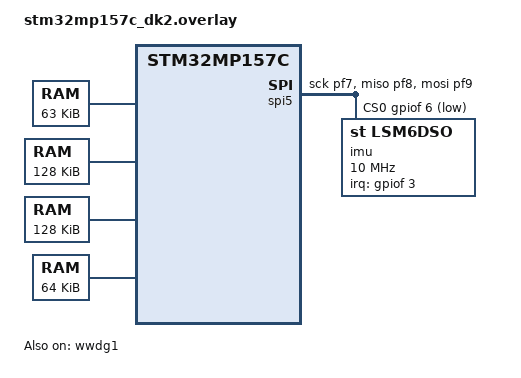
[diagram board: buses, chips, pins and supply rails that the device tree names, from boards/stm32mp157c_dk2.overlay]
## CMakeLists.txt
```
# SPDX-License-Identifier: Apache-2.0
# Derived from zephyr/samples/subsys/ipc/openamp_rsc_table.
cmake_minimum_required(VERSION 3.20.0)

# micro-ROS (west.yml). Its Zephyr module lives in a subdirectory, so west
# doesn't find it on its own. It builds libmicroros from the sources pinned
# in micro_ros.yml.
list(APPEND ZEPHYR_EXTRA_MODULES
    ${CMAKE_CURRENT_SOURCE_DIR}/../../modules/lib/micro_ros_zephyr_module/modules/libmicroros)
set(MICROROS_REPOS_DIR ${CMAKE_CURRENT_SOURCE_DIR}/../../modules/lib/micro_ros)

find_package(Zephyr REQUIRED HINTS $ENV{ZEPHYR_BASE})
project(dontfall_m4)

target_include_directories(app PRIVATE ${LIBMETAL_INCLUDE_DIR} ${OPENAMP_INCLUDE_DIR} ${PLATFORM_DIR})
target_sources(app PRIVATE
    src/main.c
    src/ipc.c
    src/link_led.c
    src/uros.c
    src/uros_transport.c
    src/imu.c
    src/imu_health.c
    src/tilt.c
    src/supervisor.c
    src/balance.c
    src/control.c
    src/diag.c
    src/wdog.c
)

# libmicroros's code and constants in RETRAM (overlay: retram node, linker
# region RETRAM), our own code stays in SRAM1. See retram.ld.
zephyr_linker_sources(PRE_TEXT_SECTIONS retram.ld)
```

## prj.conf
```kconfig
# printk goes to the RAM console, which the OpenAMP resource table exposes
# to Linux as remoteproc trace0:
#   cat /sys/kernel/debug/remoteproc/remoteproc0/trace0
CONFIG_PRINTK=y
CONFIG_RAM_CONSOLE=y
# 8 KB (default 1 KB, ~3 s of the IMU summary) so a bench test can be
# read back; RAM has room
CONFIG_RAM_CONSOLE_BUFFER_SIZE=8192
CONFIG_UART_CONSOLE=n
# no UART in use (overlay disables the board's USART3/UART7)
CONFIG_SERIAL=n
# the board defconfig sets this; without SERIAL it only warns
CONFIG_UART_INTERRUPT_DRIVEN=n

CONFIG_IPM=y
CONFIG_MAIN_STACK_SIZE=1024
CONFIG_HEAP_MEM_POOL_SIZE=1024
CONFIG_OPENAMP=y
CONFIG_OPENAMP_RSC_TABLE=y
CONFIG_OPENAMP_RSC_TABLE_NUM_RPMSG_BUFF=8
CONFIG_OPENAMP_MASTER=n

# LD7 (PH7) blinky
CONFIG_GPIO=y

# IMU on SPI5 (src/imu.c), Zephyr's LSM6DSO driver (needs hal_st)
CONFIG_SPI=y
CONFIG_SENSOR=y
# data-ready interrupt, handled in the driver's own (coop) thread
CONFIG_LSM6DSO_TRIGGER_OWN_THREAD=y

# Tilt filter (src/tilt.c) in float on the M4's single-precision FPU.
# Soft ABI: float arguments still go in integer registers, so objects
# built without the FPU (libmicroros) link unchanged. Sharing: any thread
# may use the FPU registers, the kernel saves them on context switch.
CONFIG_FPU=y
CONFIG_FP_SOFTABI=y
CONFIG_FPU_SHARING=y
# CONFIG_FPU turns float printf on by default (~10 KB of code); nothing
# prints floats (imu.c prints fixed point).
CONFIG_CBPRINTF_FP_SUPPORT=n

# micro-ROS (src/uros.c). Its allocations go through malloc, whose arena
# is all RAM left over after the static data. Entity limits are compiled
# into libmicroros; raise them as the node grows.
CONFIG_MICROROS=y
CONFIG_MICROROS_TRANSPORT_CUSTOM=y
CONFIG_MICROROS_NODES="1"
# ~/imu, /diagnostics, ~/joint_states
CONFIG_MICROROS_PUBLISHERS="3"
# cmd_vel
CONFIG_MICROROS_SUBSCRIBERS="1"
CONFIG_MICROROS_CLIENTS="0"
# ~/arm
CONFIG_MICROROS_SERVERS="1"
# clock_gettime() for rcutils and the XRCE-DDS client
CONFIG_POSIX_TIMERS=y
# rx byte pipe of the micro-ROS transport
CONFIG_PIPES=y
# libmicroros has static constructors (.init_array)
CONFIG_STATIC_INIT_GNU=y

# M4 watchdog (src/wdog.c): WWDG1, enabled in the overlay
CONFIG_WATCHDOG=y
```

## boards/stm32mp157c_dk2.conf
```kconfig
CONFIG_PLATFORM_SPECIFIC_INIT=n

# Code runs from MCU SRAM1 (zephyr,flash in the overlay); 64 KB of RETRAM
# is too small once micro-ROS is linked in. The M4 still fetches its reset
# vector from address 0 (RETRAM), so only the vector table goes there.
CONFIG_ROMSTART_RELOCATION_ROM=y
```

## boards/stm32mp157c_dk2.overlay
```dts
/*
 * Copyright (c) 2020, STMICROELECTRONICS
 *
 * SPDX-License-Identifier: Apache-2.0
 */

/*
 * M4 memory map, all in regions Linux reserves for the M4
 * (remoteproc carveouts):
 *
 *   0x00000000  RETRAM     1K  vector table (CONFIG_ROMSTART_RELOCATION_ROM)
 *   0x00000400  RETRAM    63K  more code, placed with zephyr_code_relocate()
 *   0x10000000  SRAM1    128K  code, rodata, resource table (zephyr,flash)
 *   0x10020000  SRAM2    128K  data, bss, stacks, heaps (zephyr,sram)
 *   0x10040000  SRAM3     64K  rpmsg vrings and buffers (zephyr,ipc_shm)
 *
 * Same split as ST's Cube M4 examples. Keeping code and data in separate
 * regions lets the MPU map code read-only and data execute-never, and
 * keeps the resource table out of RAM that the heap may claim.
 */

#include <zephyr/dt-bindings/sensor/lsm6dso.h>

/delete-node/ &mcusram;
/delete-node/ &retram;

/ {
	chosen {
		zephyr,flash = &mcusram1;
		zephyr,sram = &mcusram2;
		/*
		 * shared memory reserved for the inter-processor communication
		 */
		zephyr,ipc_shm = &mcusram3;
		zephyr,ipc = &mailbox;
	};

	/*
	 * RETRAM after the 1 KB vector table region, as a linker memory
	 * region named RETRAM (CMakeLists.txt relocates code into it).
	 * remoteproc loads it like any other ELF segment, so the code is
	 * linked in place (NOCOPY), nothing is copied at boot.
	 */
	retram: memory@400 {
		compatible = "zephyr,memory-region", "mmio-sram";
		reg = <0x00000400 DT_SIZE_K(63)>;
		zephyr,memory-region = "RETRAM";
	};

	mcusram1: memory@10000000 {
		compatible = "mmio-sram";
		reg = <0x10000000 DT_SIZE_K(128)>;
	};

	mcusram2: memory@10020000 {
		compatible = "mmio-sram";
		reg = <0x10020000 DT_SIZE_K(128)>;
	};

	mcusram3: memory@10040000 {
		compatible = "mmio-sram";
		reg = <0x10040000 DT_SIZE_K(64)>;
	};
};

/*
 * The board defaults enable these; nothing on the M4 uses a UART (the
 * console is the RAM console), so don't set them up or claim their pins
 * (USART3 PB10/PB12, UART7 PE7/PE8).
 */
&usart3 {
	status = "disabled";
};

&uart7 {
	status = "disabled";
};

/*
 * IMU: Arduino Modulino Movement (ST LSM6DSOX) on SPI5, GPIO expansion
 * header CN2 (docs/hardware.md in DontFall). CS on PF6 as a plain GPIO:
 * the chip stays in I2C mode until CS goes low, so it must be driven.
 * Linux leaves spi5 disabled, the M4 owns it.
 */
&spi5 {
	pinctrl-0 = <&spi5_sck_pf7 &spi5_miso_pf8 &spi5_mosi_pf9>;
	cs-gpios = <&gpiof 6 GPIO_ACTIVE_LOW>;

	imu: lsm6dsox@0 {
		compatible = "st,lsm6dso";
		reg = <0>;
		/* 64 MHz kernel clock / 8 = 8 MHz (chip max 10 MHz) */
		spi-max-frequency = <DT_FREQ_M(10)>;
		/* The driver writes these at boot; without them the chip stays
		 * powered down (ODR off).
		 */
		accel-odr = <LSM6DSO_DT_ODR_833Hz>;
		accel-range = <LSM6DSO_DT_FS_4G>;
		gyro-odr = <LSM6DSO_DT_ODR_833Hz>;
		gyro-range = <LSM6DSO_DT_FS_500DPS>;
		/* Data ready on INT1 (PF3, EXTI3). Pulsed, not latched: the
		 * driver masks the GPIO interrupt while it reads, and a latched
		 * line that goes high in that window never makes another edge.
		 * Pulsed only loses that one sample.
		 */
		irq-gpios = <&gpiof 3 GPIO_ACTIVE_HIGH>;
		int-pin = <1>;
		drdy-pulsed;
	};
};

/* M4 watchdog (src/wdog.c). Its reset is the EXTI 68 event Linux's
 * remoteproc reports as a crash.
 */
&wwdg1 {
	status = "okay";
};
```

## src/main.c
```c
/*
 * DontFall M4 firmware: OpenAMP remote on the STM32MP157 Cortex-M4.
 *
 * Wires the modules together:
 *  - ipc:       rpmsg-tty channel to Linux (/dev/ttyRPMSG0)
 *  - link_led:  LD7 blinks while the micro-ROS Agent session is up
 *  - uros:      micro-ROS node, to the micro-ROS Agent on the channel
 *  - imu:       LSM6DSOX on SPI5 (bring-up: data-ready sampling, timing printk)
 *  - control:   the supervisor (arm/disarm), fed by every IMU sample
 *  - wdog:      WWDG1 resets the M4 if it hangs
 *
 * SPDX-License-Identifier: Apache-2.0
 */

#include <zephyr/kernel.h>
#include <zephyr/sys/printk.h>

#include "control.h"
#include "imu.h"
#include "ipc.h"
#include "link_led.h"
#include "uros.h"
#include "uros_transport.h"
#include "wdog.h"

static const ipc_rx_cb_t rx_cbs[IPC_CH_COUNT] = {
	[IPC_CH_UROS] = uros_transport_rx,
};

int main(void)
{
	int ret;

	printk("dontfall-m4 up\n");

	ret = link_led_init();
	if (ret) {
		/* only the status LED is missing: run anyway */
		printk("LD7 not available: %d\n", ret);
	}

	ret = ipc_start(rx_cbs);
	if (ret) {
		printk("ipc_start failed: %d\n", ret);
	}

	/* before the IMU: it starts calling control_imu_sample() */
	control_init();

	/* after control_init(): its timer is a check-in source */
	ret = wdog_start();
	if (ret) {
		printk("wdog_start failed: %d\n", ret);
	}

	ret = imu_init(control_imu_sample);
	if (ret) {
		printk("imu_init failed: %d\n", ret);
	}

	ret = uros_start();
	if (ret) {
		printk("uros_start failed: %d\n", ret);
	}
	return 0;
}
```

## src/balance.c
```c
/*
 * Balance controller. See balance.h.
 *
 * SPDX-License-Identifier: Apache-2.0
 */

#include "balance.h"

#include <math.h>

#include "balance_gains.h"

void balance_init(struct balance *b, float t_max)
{
	b->k[0] = BALANCE_K_THETA;
	b->k[1] = BALANCE_K_THETA_DOT;
	b->k[2] = BALANCE_K_OMEGA;
	b->t_max = t_max;
}

float balance_update(const struct balance *b, float theta, float theta_dot, float omega,
		     bool armed)
{
	float t;

	if (!armed) {
		return 0.0f;
	}
	t = -(b->k[0] * theta + b->k[1] * theta_dot + b->k[2] * omega);
	/* NaN in, NaN out: never pass that to a motor */
	if (!isfinite(t)) {
		return 0.0f;
	}
	return fminf(fmaxf(t, -b->t_max), b->t_max);
}
```

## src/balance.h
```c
/*
 * Balance controller for the reaction wheel balancer (DontFall
 * docs/archive/balance-plan.md): full-state feedback
 *
 *     torque = -(k[0] theta + k[1] theta_dot + k[2] omega)
 *
 * with the LQR gains from balance_gains.h, clamped to the motor's limit.
 * theta is the body's tilt from upright, theta_dot its rate straight from
 * the gyro (bias removed, not from the tilt filter), omega the wheel's
 * speed relative to the body. Positive torque speeds the wheel up the
 * positive way and pushes the body the negative way.
 *
 * The supervisor decides whether the output is used; the controller also
 * gives zero when told it is disarmed, or on an input that isn't a number.
 *
 * Plain C with no Zephyr dependencies, so the same file is built into the
 * firmware and into the host tests (tests/balance).
 */
#ifndef DONTFALL_M4_BALANCE_H_
#define DONTFALL_M4_BALANCE_H_

#include <stdbool.h>

struct balance {
	float k[3];  /* N m per rad, per rad/s, per rad/s */
	float t_max; /* N m */
};

/* The LQR gains and a torque limit t_max (N m, > 0). */
void balance_init(struct balance *b, float t_max);

/* Torque for one sample, in -t_max..t_max N m. */
float balance_update(const struct balance *b, float theta, float theta_dot, float omega,
		     bool armed);

#endif /* DONTFALL_M4_BALANCE_H_ */
```

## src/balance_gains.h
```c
/*
 * Balance controller gains, torque = -(K_THETA theta + K_THETA_DOT
 * theta_dot + K_OMEGA omega), in N m per rad, per rad/s and per rad/s.
 *
 * GENERATED by tests/balance/lqr.py from the guessed parameters there;
 * change the script and rerun it, don't edit the numbers by hand.
 * Discrete LQR at 850 Hz, closed-loop poles |z| = 0.9895, 0.9895, 0.9973.
 *
 * SPDX-License-Identifier: Apache-2.0
 */

#ifndef BALANCE_GAINS_H
#define BALANCE_GAINS_H

#define BALANCE_K_THETA     -2.07481f
#define BALANCE_K_THETA_DOT -0.247924f
#define BALANCE_K_OMEGA     -0.00164696f

#endif
```

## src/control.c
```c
/*
 * Supervisor glue. See control.h.
 *
 * SPDX-License-Identifier: Apache-2.0
 */

#include "control.h"

#include <math.h>
#include <zephyr/kernel.h>
#include <zephyr/spinlock.h>
#include <zephyr/sys/printk.h>

#include "balance.h"
#include "imu_health.h"
#include "tilt.h"
#include "uptime_us.h"
#include "wdog.h"

/* how often to look for samples that stopped */
#define CONTROL_TICK_MS 10
/* the IMU's own no-data limit: ~12 samples at 850 Hz */
#define SAMPLE_TIMEOUT_US IMU_HEALTH_TIMEOUT_US
/* N m, a GUESS like the simulation's (plant_guess.t_max) until the
 * GM4108H's datasheet numbers are in
 */
#define TORQUE_MAX 0.2f
/* no encoder yet: the controller sees the wheel standing still */
#define WHEEL_SPEED 0.0f

static struct k_spinlock lock;
static struct supervisor sup;      /* guarded by lock */
static uint32_t last_sample_us;    /* guarded by lock */
static struct supervisor_input last_in; /* guarded by lock, imu_ok false until a sample */
static struct control_status shown; /* guarded by lock: last one printed */
static struct balance bal;          /* constant after init */
static float torque;                /* guarded by lock; the motor stub */
static uint32_t loop_max_cycles;    /* guarded by lock */

static struct k_timer tick;
static struct k_work print_work;

/* Lock held. Print from the work queue if the state or reason moved. */
static void note_change(void)
{
	if (sup.state != shown.state || sup.reason != shown.reason) {
		shown.state = sup.state;
		shown.reason = sup.reason;
		k_work_submit(&print_work);
	}
}

void control_imu_sample(uint32_t now_us, bool ok, float roll, float pitch, float pitch_rate)
{
	uint32_t start = k_cycle_get_32();
	struct supervisor_input in = {
		.now_us = now_us,
		.imu_ok = ok,
		.tilt = ok ? tilt_from_upright(roll, pitch) : NAN,
		.rate = ok ? pitch_rate : NAN,
	};

	K_SPINLOCK(&lock) {
		bool armed;

		/* saturated: the previous sample's output, one sample late */
		in.saturated = fabsf(torque) >= bal.t_max;
		last_sample_us = now_us;
		last_in = in;
		supervisor_update(&sup, &in);
		note_change();
		armed = ok && supervisor_armed(&sup);
		torque = balance_update(&bal, pitch, pitch_rate, WHEEL_SPEED, armed);
		loop_max_cycles = MAX(loop_max_cycles, k_cycle_get_32() - start);
	}
}

/* ISR context. */
static void on_tick(struct k_timer *timer)
{
	const struct supervisor_input in = {
		.now_us = uptime_us(),
		.imu_ok = false,
		.tilt = NAN,
	};

	ARG_UNUSED(timer);

	wdog_checkin(WDOG_CONTROL_TICK);
	K_SPINLOCK(&lock) {
		if (in.now_us - last_sample_us > SAMPLE_TIMEOUT_US) {
			supervisor_update(&sup, &in);
			note_change();
			torque = 0.0f;
		}
	}
}

/* Prints the state as it is now: two quick changes print once. */
static void print_state(struct k_work *work)
{
	struct control_status s;

	ARG_UNUSED(work);

	control_status(&s);
	if (s.state == SUPERVISOR_ARMED) {
		printk("control: ARMED (loop max %u ns)\n", s.loop_max_ns);
	} else {
		printk("control: DISARMED (%s, loop max %u ns)\n", supervisor_reason_str(s.reason),
		       s.loop_max_ns);
	}
}

void control_init(void)
{
	supervisor_init(&sup);
	balance_init(&bal, TORQUE_MAX);
	shown = (struct control_status){.state = sup.state, .reason = sup.reason};
	k_work_init(&print_work, print_state);
	k_timer_init(&tick, on_tick, NULL);
	k_timer_start(&tick, K_MSEC(CONTROL_TICK_MS), K_MSEC(CONTROL_TICK_MS));
}

enum supervisor_reason control_arm(void)
{
	enum supervisor_reason r;

	K_SPINLOCK(&lock) {
		struct supervisor_input in = last_in;

		in.now_us = uptime_us();
		/* the timer may not have run yet since the samples stopped */
		if (in.now_us - last_sample_us > SAMPLE_TIMEOUT_US) {
			in.imu_ok = false;
		}
		r = supervisor_arm(&sup, &in);
		note_change();
	}
	return r;
}

void control_disarm(void)
{
	K_SPINLOCK(&lock) {
		supervisor_disarm(&sup);
		note_change();
		torque = 0.0f;
	}
}

void control_command(float speed, float turn)
{
	const struct supervisor_setpoint cmd = {.speed = speed, .turn = turn};

	K_SPINLOCK(&lock) {
		supervisor_command(&sup, uptime_us(), &cmd);
	}
}

void control_status(struct control_status *out)
{
	K_SPINLOCK(&lock) {
		out->state = sup.state;
		out->reason = sup.reason;
		out->setpoint = supervisor_setpoint(&sup, uptime_us());
		out->torque = torque;
		out->loop_max_ns = (uint32_t)k_cyc_to_ns_floor64(loop_max_cycles);
	}
}
```

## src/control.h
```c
/*
 * Control: what runs on every IMU sample after the IMU's own work. Owns
 * the supervisor (supervisor.h) and the balance controller (balance.h,
 * DontFall docs/archive/balance-plan.md): on every sample the supervisor checks,
 * then the controller computes the wheel torque, zero unless armed.
 *
 * There is no motor yet (balance plan step 5): the torque is only stored
 * for telemetry, and the wheel speed the controller sees is 0 until
 * there is an encoder. theta is the IMU's pitch (the wheel axle is the
 * body's y axis, tilt.h), theta_dot the gyro's pitch rate.
 *
 * The supervisor is fed from three places, serialised by one lock:
 *  - every IMU sample (control_imu_sample, the IMU's sample callback),
 *  - a kernel timer every CONTROL_TICK_MS that disarms if the samples
 *    stopped: a lost data-ready interrupt never calls the callback, so
 *    the sampling path alone would never notice. It also checks in with
 *    the watchdog (wdog.h),
 *  - arm and disarm requests (control_arm, control_disarm), checked
 *    against the latest sample, so the caller gets the answer at once,
 *  - motion commands (control_command), stamped with the M4's clock when
 *    they arrive.
 *
 * State changes are printed from the system work queue, never in the
 * sampling path.
 */
#ifndef DONTFALL_M4_CONTROL_H_
#define DONTFALL_M4_CONTROL_H_

#include <stdbool.h>
#include <stdint.h>

#include "supervisor.h"

struct control_status {
	enum supervisor_state state;
	enum supervisor_reason reason;
	struct supervisor_setpoint setpoint; /* in use now: zero if stale */
	float torque;                        /* N m, wheel torque wanted now */
	uint32_t loop_max_ns;                /* longest supervisor + controller run */
};

/* Start the supervisor DISARMED and the no-sample timer. Call before the
 * IMU delivers samples.
 */
void control_init(void);

/* The IMU's sample callback (imu_sample_cb_t). */
void control_imu_sample(uint32_t now_us, bool ok, float roll, float pitch, float pitch_rate);

/* Arm if the latest sample allows it (supervisor_arm()): SUPERVISOR_OK,
 * or why not. Any thread.
 */
enum supervisor_reason control_arm(void);

/* Always works. Any thread. */
void control_disarm(void);

/* A motion command (cmd_vel) arrived: speed m/s, turn rad/s. Any thread. */
void control_command(float speed, float turn);

/* Snapshot for telemetry. Any thread. */
void control_status(struct control_status *out);

#endif /* DONTFALL_M4_CONTROL_H_ */
```

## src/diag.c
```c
/*
 * M4 status message. See diag.h.
 *
 * SPDX-License-Identifier: Apache-2.0
 */

#include "diag.h"

#include <string.h>
#include <zephyr/sys/printk.h>

#include "control.h"
#include "imu.h"
#include "ros_str.h"

enum { DIAG_IMU, DIAG_SUPERVISOR, DIAG_COUNT };

#define LEVEL_OK    diagnostic_msgs__msg__DiagnosticStatus__OK
#define LEVEL_WARN  diagnostic_msgs__msg__DiagnosticStatus__WARN
#define LEVEL_ERROR diagnostic_msgs__msg__DiagnosticStatus__ERROR

static diagnostic_msgs__msg__DiagnosticStatus status[DIAG_COUNT];
static char supervisor_message[32];
/* setpoint in use, under the supervisor status */
enum { VALUE_SPEED, VALUE_TURN, VALUE_COUNT };
static diagnostic_msgs__msg__KeyValue values[VALUE_COUNT];
static char value_buf[VALUE_COUNT][16];

/* printk has no float support: fixed point with 3 decimals, clamped so
 * the conversion can't overflow (the value is only for reading).
 */
static void set_milli(int i, float v)
{
	float c = v > 1e6f ? 1e6f : (v < -1e6f ? -1e6f : v);
	int32_t m = (int32_t)(c * 1000.0f + (c < 0 ? -0.5f : 0.5f));
	uint32_t a = m < 0 ? -(uint32_t)m : (uint32_t)m;

	snprintk(value_buf[i], sizeof(value_buf[i]), "%s%u.%03u", m < 0 ? "-" : "", a / 1000,
		 a % 1000);
	ros_str_set(&values[i].value, value_buf[i]);
}

void diag_init(diagnostic_msgs__msg__DiagnosticArray *msg)
{
	memset(msg, 0, sizeof(*msg));
	memset(status, 0, sizeof(status));
	ros_str_set(&msg->header.frame_id, "");
	msg->status.data = status;
	msg->status.size = DIAG_COUNT;
	msg->status.capacity = DIAG_COUNT;

	ros_str_set(&status[DIAG_IMU].name, "dontfall_m4: imu");
	ros_str_set(&status[DIAG_IMU].hardware_id, "lsm6dsox");
	ros_str_set(&status[DIAG_IMU].message, "");
	ros_str_set(&status[DIAG_SUPERVISOR].name, "dontfall_m4: supervisor");
	ros_str_set(&status[DIAG_SUPERVISOR].hardware_id, "");
	ros_str_set(&status[DIAG_SUPERVISOR].message, "");
	ros_str_set(&values[VALUE_SPEED].key, "speed");
	ros_str_set(&values[VALUE_TURN].key, "turn");
	set_milli(VALUE_SPEED, 0.0f);
	set_milli(VALUE_TURN, 0.0f);
	status[DIAG_SUPERVISOR].values.data = values;
	status[DIAG_SUPERVISOR].values.size = VALUE_COUNT;
	status[DIAG_SUPERVISOR].values.capacity = VALUE_COUNT;
}

void diag_fill(diagnostic_msgs__msg__DiagnosticArray *msg, int64_t stamp_ns)
{
	struct imu_sample unused;
	enum imu_fault fault = imu_latest(&unused);
	struct control_status c;

	control_status(&c);

	msg->header.stamp.sec = (int32_t)(stamp_ns / 1000000000);
	msg->header.stamp.nanosec = (uint32_t)(stamp_ns % 1000000000);

	status[DIAG_IMU].level = fault == IMU_OK ? LEVEL_OK : LEVEL_ERROR;
	ros_str_set(&status[DIAG_IMU].message, imu_fault_str(fault));

	if (c.state == SUPERVISOR_ARMED) {
		status[DIAG_SUPERVISOR].level = LEVEL_OK;
		ros_str_set(&status[DIAG_SUPERVISOR].message, "armed");
	} else {
		bool asked = c.reason == SUPERVISOR_BOOT || c.reason == SUPERVISOR_REQUEST;

		status[DIAG_SUPERVISOR].level = asked ? LEVEL_OK : LEVEL_WARN;
		snprintk(supervisor_message, sizeof(supervisor_message), "disarmed (%s)",
			 supervisor_reason_str(c.reason));
		ros_str_set(&status[DIAG_SUPERVISOR].message, supervisor_message);
	}
	set_milli(VALUE_SPEED, c.setpoint.speed);
	set_milli(VALUE_TURN, c.setpoint.turn);
}
```

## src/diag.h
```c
/*
 * The M4's status as diagnostic_msgs/DiagnosticArray, the standard ROS
 * type for health reports (rqt_robot_monitor, diagnostic_aggregator read
 * it). One status per part:
 *  - "dontfall_m4: imu": OK, or ERROR with the fault (imu_health.h)
 *  - "dontfall_m4: supervisor": "armed" or "disarmed (reason)"; WARN when
 *    a fault disarmed it, OK when it was asked to or never armed. Values
 *    "speed" (m/s) and "turn" (rad/s): the setpoint in use, zero while
 *    disarmed or when cmd_vel went quiet
 *
 * Builds the message only; uros.c publishes it.
 */
#ifndef DONTFALL_M4_DIAG_H_
#define DONTFALL_M4_DIAG_H_

#include <stdint.h>

#include <diagnostic_msgs/msg/diagnostic_array.h>

/* Point the message at static storage and set the fields that never
 * change. Once, before diag_fill().
 */
void diag_init(diagnostic_msgs__msg__DiagnosticArray *msg);

/* Fill in the current state, stamped stamp_ns (ns since the epoch). */
void diag_fill(diagnostic_msgs__msg__DiagnosticArray *msg, int64_t stamp_ns);

#endif /* DONTFALL_M4_DIAG_H_ */
```

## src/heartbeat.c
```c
/*
 * A7 liveness watchdog driving LD7 (PH7, Zephyr led0). See heartbeat.h.
 *
 * Two k_timers, both expiring in the system clock ISR:
 *  - watchdog: one-shot, re-armed by every kick; expiry = link lost.
 *  - blink:    periodic, runs only while the link is up.
 * The LED blinks at a fixed M4-timed rate, independent of A7 jitter.
 *
 * SPDX-License-Identifier: Apache-2.0
 */

#include "heartbeat.h"

#include <errno.h>
#include <stdbool.h>
#include <zephyr/kernel.h>
#include <zephyr/drivers/gpio.h>
#include <zephyr/sys/printk.h>

#define BLINK_PERIOD_MS 500

static const struct gpio_dt_spec led = GPIO_DT_SPEC_GET(DT_ALIAS(led0), gpios);
static bool led_ready;

/* guards link_up against the watchdog ISR */
static struct k_spinlock lock;
static bool link_up;

static void blink_expiry(struct k_timer *timer)
{
	gpio_pin_toggle_dt(&led);
}

static K_TIMER_DEFINE(blink_timer, blink_expiry, NULL);

static void watchdog_expiry(struct k_timer *timer)
{
	k_spinlock_key_t key = k_spin_lock(&lock);
	bool was_up = link_up;

	link_up = false;
	if (was_up && led_ready) {
		k_timer_stop(&blink_timer);
		gpio_pin_set_dt(&led, 0);
	}
	k_spin_unlock(&lock, key);

	if (was_up) {
		printk("heartbeat: A7 link lost\n");
	}
}

static K_TIMER_DEFINE(watchdog_timer, watchdog_expiry, NULL);

int heartbeat_init(void)
{
	if (!gpio_is_ready_dt(&led)) {
		return -ENODEV;
	}

	int ret = gpio_pin_configure_dt(&led, GPIO_OUTPUT_INACTIVE);

	if (ret) {
		return ret;
	}
	led_ready = true;
	return 0;
}

void heartbeat_kick(void)
{
	k_spinlock_key_t key = k_spin_lock(&lock);
	bool was_up = link_up;

	link_up = true;
	k_timer_start(&watchdog_timer, K_MSEC(HEARTBEAT_TIMEOUT_MS), K_NO_WAIT);
	if (!was_up && led_ready) {
		/* first toggle right away: LD7 lights as soon as the link is up */
		k_timer_start(&blink_timer, K_NO_WAIT, K_MSEC(BLINK_PERIOD_MS));
	}
	k_spin_unlock(&lock, key);

	if (!was_up) {
		printk("heartbeat: A7 link up\n");
	}
}
```

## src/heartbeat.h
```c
/*
 * A7 liveness watchdog.
 *
 * Every valid PING from the A7 kicks it. While kicks keep arriving the
 * orange LED LD7 blinks; if none arrives for HEARTBEAT_TIMEOUT_MS the link
 * counts as lost and LD7 goes off. A blinking LD7 therefore proves the
 * whole chain: remoteproc loaded and started the M4, rpmsg is up, and the
 * A7 application is alive and talking.
 *
 * The same pattern later guards motion commands: the M4 must not keep
 * acting on stale commands when the A7 goes quiet (VISION.md, fail safe).
 */
#ifndef DONTFALL_M4_HEARTBEAT_H_
#define DONTFALL_M4_HEARTBEAT_H_

/* A7 sends a PING every 500 ms; three missed in a row = link lost. */
#define HEARTBEAT_TIMEOUT_MS 1500

/* Configure LD7 (off). Returns 0, or a negative errno. */
int heartbeat_init(void);

/* A heartbeat arrived from the A7. Thread context. */
void heartbeat_kick(void);

#endif /* DONTFALL_M4_HEARTBEAT_H_ */
```

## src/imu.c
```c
/*
 * IMU on SPI5. See imu.h.
 *
 * The driver (drivers/sensor/st/lsm6dso, on ST's register HAL in hal_st)
 * probes the chip at boot, before main(): it checks WHO_AM_I, resets the
 * chip and writes the ODR, full scale and INT1 setup from the DT node.
 * Here we only use the generic sensor API, so the same code works with
 * any Zephyr IMU driver.
 *
 * On data ready the driver's own thread (CONFIG_LSM6DSO_TRIGGER_OWN_THREAD)
 * calls on_drdy(). It fetches the sample and updates the timing stats.
 * The summary thread swaps the stats out once a second and prints them,
 * so printk never runs in the sampling path.
 *
 * Gyro bias: a MEMS gyro reads a small nonzero rate at rest, and the tilt
 * filter integrates it into a drifting angle. At startup on_drdy()
 * averages CAL_SAMPLES of gyro and takes that as the bias, but only if
 * every axis stayed within CAL_MAX_RANGE (the module was still) and the
 * average is plausible (CAL_MAX_BIAS). Otherwise it starts over, forever:
 * running on an uncalibrated gyro is worse than waiting. Until then there
 * is no sample for imu_latest(), so nothing is published.
 *
 * Samples are kept as integer micro-units (um/s^2, urad/s), so the bias
 * subtraction at the sensor rate is integer maths.
 *
 * Tilt (step 6b): every calibrated sample also goes through the tilt
 * filter (tilt.c) in the same thread, with the measured time since the
 * previous sample: the chip's ODR is ~2% off nominal.
 *
 * Health (step 7b): every fetch also goes through the fault checks
 * (imu_health.c), and the summary thread re-reads WHO_AM_I once a second
 * with a raw SPI read (the SPI driver serialises it with the sensor
 * driver's transfers). While there is a fault, samples are not handed
 * out, the gyro calibration doesn't use them and the tilt filter starts
 * over, so it takes the accelerometer's angles once the IMU is healthy
 * again instead of integrating garbage.
 *
 * After the checks, every fetch goes to the sample callback from
 * imu_init() (the supervisor, failsafe plan step 2), healthy or not.
 *
 * Re-init (step 7c): a chip reset or power loss puts its registers back
 * to defaults, ODR "power down" among them: it still answers WHO_AM_I
 * but never makes data again. Right after boot imu_init() saves the
 * registers the driver set up (cfg_regs); the summary thread compares
 * them once a second and writes the saved values back if they changed.
 * Saving them from the chip instead of writing our own values keeps the
 * register encoding in the driver. Only with a good WHO_AM_I: with a
 * broken bus the reads mean nothing.
 *
 * SPDX-License-Identifier: Apache-2.0
 */

#include "imu.h"
#include "imu_health.h"
#include "tilt.h"
#include "uptime_us.h"

#include <errno.h>
#include <stdint.h>
#include <string.h>
#include <zephyr/device.h>
#include <zephyr/drivers/sensor.h>
#include <zephyr/drivers/spi.h>
#include <zephyr/kernel.h>
#include <zephyr/spinlock.h>
#include <zephyr/sys/printk.h>
#include <zephyr/sys/util.h>

#define IMU_STACK_SIZE 1024
/* below uros (5): printing is the least important thing on the M4 */
#define IMU_PRIORITY   K_PRIO_PREEMPT(7)
#define IMU_REPORT_MS  1000

/* ~1 s at the ~850 Hz ODR */
#define CAL_SAMPLES    850
/* Skip ~100 ms first: right after the driver turns the gyro on it reads
 * rad/s-sized garbage for a few tens of ms (turn-on time).
 */
#define CAL_SETTLE     85
/* Max - min per gyro axis over the window. Measured at rest: ~0.01 rad/s
 * when quiet, up to ~0.1 with the desk vibrating (that averages out).
 * Picking the module up or turning it by hand is well above.
 */
#define CAL_MAX_RANGE  100000 /* urad/s, ~5.7 dps */
/* LSM6DSOX zero-rate level is +-1 dps typical; far above that, something
 * is turning the module slowly and steadily.
 */
#define CAL_MAX_BIAS   100000 /* urad/s, ~5.7 dps */

/* Tilt filter time constant: a common start for balancing robots, tune
 * on the robot (docs/archive/imu-plan.md step 6).
 */
#define TILT_TAU       0.5f /* s */
#define RAD_TO_UDEG    (180e6f / 3.14159265f)

/* Largest readings, 32767 LSB times the sensitivity of the DT ranges:
 * 0.122 mg at 4 g, 17.5 mdps at 500 dps (so it really reaches 573 dps).
 */
#define ACCEL_FS       39202800 /* um/s^2 */
#define GYRO_FS        10008000 /* urad/s */

#define REG_WHO_AM_I   0x0f
#define WHO_AM_I_LSM6DSOX 0x6c
#define SPI_READ       0x80
#define REG_FUNC_CFG_ACCESS 0x01

K_THREAD_STACK_DEFINE(imu_stack, IMU_STACK_SIZE);
static struct k_thread imu_thread;

static const struct device *const imu = DEVICE_DT_GET(DT_NODELABEL(imu));
/* same bus settings as the driver's (mode 3) */
static const struct spi_dt_spec spi = SPI_DT_SPEC_GET(
	DT_NODELABEL(imu),
	SPI_OP_MODE_MASTER | SPI_WORD_SET(8) | SPI_TRANSFER_MSB | SPI_MODE_CPOL | SPI_MODE_CPHA,
	0);

/* Timing of the samples in one report window, in hw cycles
 * (k_cycle_get_32, the CPU clock on the M4).
 */
struct imu_stats {
	uint32_t samples;
	uint32_t errors;   /* failed fetches */
	uint32_t gaps;     /* gaps measured (samples, minus the window's first) */
	uint32_t gap_min;
	uint32_t gap_max;
	uint32_t gap_sum;
	uint32_t fetch_max; /* longest sensor_sample_fetch: SPI cost per sample */
	uint32_t faults;    /* samples that started a fault */
	enum imu_fault last_fault;
};

/* Result of the gyro calibration, for the summary thread to print. */
struct imu_cal {
	bool done;
	uint32_t attempts;    /* windows finished, good or not */
	int32_t bias[3];      /* urad/s, valid once done */
	int32_t range[3];     /* urad/s, max - min in the last window */
};

static struct k_spinlock lock;
static struct imu_stats stats; /* guarded by lock */
static struct imu_cal cal;     /* guarded by lock */
static struct imu_health health; /* guarded by lock */
static int32_t accel[3]; /* um/s^2, latest sample, guarded by lock */
static int32_t gyro[3];  /* urad/s, latest sample minus bias, guarded by lock */
static float roll, pitch; /* rad, latest tilt estimate, guarded by lock */
static bool have_sample; /* guarded by lock */

/* Registers the driver sets at boot, in the order they are written back:
 * CTRL3_C (BDU, auto-increment) first, the ODRs (CTRL1_XL, CTRL2_G) last
 * so the chip starts sampling only when fully set up. FIFO_CTRL4 (FIFO
 * bypass), COUNTER_BDR_REG1 (pulsed data ready), INT1_CTRL (data ready
 * on INT1), CTRL4_C..CTRL10_C (power modes, I3C off), I3C_BUS_AVB.
 */
static const uint8_t cfg_regs[] = {
	0x12, 0x0a, 0x0b, 0x0d, 0x13, 0x14, 0x15, 0x16, 0x17, 0x18, 0x19, 0x62, 0x10, 0x11,
};
static uint8_t cfg_saved[ARRAY_SIZE(cfg_regs)]; /* summary thread only, after init */

static imu_sample_cb_t sample_cb; /* set once by imu_init() */

/* only touched by on_drdy */
static uint32_t last_cycle;
static enum imu_fault last_fault = IMU_FAULT_NO_DATA;
static bool have_last;
static int32_t bias[3];
static bool calibrated;
static uint32_t settle_n;
static uint32_t cal_n;
static int64_t cal_sum[3];
static int32_t cal_min[3], cal_max[3];
static struct tilt tilt;

static void stats_reset(struct imu_stats *s)
{
	*s = (struct imu_stats){.gap_min = UINT32_MAX};
}

static int read_reg(uint8_t reg, uint8_t *val)
{
	uint8_t tx[2] = {reg | SPI_READ, 0};
	uint8_t rx[2];
	const struct spi_buf tx_buf = {.buf = tx, .len = sizeof(tx)};
	const struct spi_buf rx_buf = {.buf = rx, .len = sizeof(rx)};
	const struct spi_buf_set tx_set = {.buffers = &tx_buf, .count = 1};
	const struct spi_buf_set rx_set = {.buffers = &rx_buf, .count = 1};
	int ret = spi_transceive_dt(&spi, &tx_set, &rx_set);

	*val = rx[1];
	return ret;
}

static int write_reg(uint8_t reg, uint8_t val)
{
	uint8_t tx[2] = {reg, val};
	const struct spi_buf tx_buf = {.buf = tx, .len = sizeof(tx)};
	const struct spi_buf_set tx_set = {.buffers = &tx_buf, .count = 1};

	return spi_write_dt(&spi, &tx_set);
}

static int cfg_save(void)
{
	for (int i = 0; i < ARRAY_SIZE(cfg_regs); i++) {
		int ret = read_reg(cfg_regs[i], &cfg_saved[i]);

		if (ret) {
			return ret;
		}
	}
	return 0;
}

/* If the chip lost its setup, write it back. */
static void cfg_restore_if_lost(void)
{
	int lost = -1;
	uint8_t v = 0;

	for (int i = 0; i < ARRAY_SIZE(cfg_regs) && lost < 0; i++) {
		if (read_reg(cfg_regs[i], &v) == 0 && v != cfg_saved[i]) {
			lost = i;
		}
	}
	if (lost < 0) {
		return;
	}
	printk("imu: chip setup lost (reg 0x%02x 0x%02x, was 0x%02x), writing it again\n",
	       cfg_regs[lost], v, cfg_saved[lost]);
	/* user register bank, the default after a reset anyway */
	write_reg(REG_FUNC_CFG_ACCESS, 0);
	for (int i = 0; i < ARRAY_SIZE(cfg_regs); i++) {
		write_reg(cfg_regs[i], cfg_saved[i]);
	}
}

/* Feed one gyro sample into the calibration window. When the window is
 * full, take its average as the bias if the module was still, else start
 * a new window. Sampling thread only.
 */
static void cal_add(const int32_t g[3])
{
	struct imu_cal result = {0};
	bool still = true;

	if (settle_n < CAL_SETTLE) {
		settle_n++;
		return;
	}
	for (int i = 0; i < 3; i++) {
		cal_sum[i] += g[i];
		cal_min[i] = cal_n ? MIN(cal_min[i], g[i]) : g[i];
		cal_max[i] = cal_n ? MAX(cal_max[i], g[i]) : g[i];
	}
	if (++cal_n < CAL_SAMPLES) {
		return;
	}

	for (int i = 0; i < 3; i++) {
		result.bias[i] = (int32_t)(cal_sum[i] / CAL_SAMPLES);
		result.range[i] = cal_max[i] - cal_min[i];
		if (result.range[i] > CAL_MAX_RANGE ||
		    result.bias[i] > CAL_MAX_BIAS || result.bias[i] < -CAL_MAX_BIAS) {
			still = false;
		}
	}
	cal_n = 0;
	memset(cal_sum, 0, sizeof(cal_sum));

	if (still) {
		memcpy(bias, result.bias, sizeof(bias));
		calibrated = true;
	}
	K_SPINLOCK(&lock) {
		result.done = still;
		result.attempts = cal.attempts + 1;
		cal = result;
	}
}

static void on_drdy(const struct device *dev, const struct sensor_trigger *trig)
{
	struct sensor_value av[3], gv[3];
	int32_t a[3] = {0}, g[3] = {0};
	uint32_t now = k_cycle_get_32();
	uint32_t t = uptime_us();
	uint32_t fetch;
	enum imu_fault fault;
	bool use;
	int ret;

	ARG_UNUSED(trig);

	/* one fetch reads both sensors; channel_get only converts */
	ret = sensor_sample_fetch(dev);
	fetch = k_cycle_get_32() - now;
	if (ret == 0) {
		sensor_channel_get(dev, SENSOR_CHAN_ACCEL_XYZ, av);
		sensor_channel_get(dev, SENSOR_CHAN_GYRO_XYZ, gv);
		for (int i = 0; i < 3; i++) {
			a[i] = (int32_t)sensor_value_to_micro(&av[i]);
			g[i] = (int32_t)sensor_value_to_micro(&gv[i]);
		}
	}

	K_SPINLOCK(&lock) {
		imu_health_sample(&health, t, ret == 0, a, g);
		fault = imu_health_check(&health, t);
		stats.samples++;
		stats.fetch_max = MAX(stats.fetch_max, fetch);
		if (have_last) {
			uint32_t gap = now - last_cycle; /* wraps correctly */

			stats.gaps++;
			stats.gap_sum += gap;
			stats.gap_min = MIN(stats.gap_min, gap);
			stats.gap_max = MAX(stats.gap_max, gap);
		}
		if (ret) {
			stats.errors++;
		}
		if (fault != IMU_OK && fault != last_fault) {
			stats.faults++;
			stats.last_fault = fault;
		}
	}
	last_fault = fault;

	use = fault == IMU_OK && calibrated;
	if (fault != IMU_OK) {
		/* the next healthy sample takes the accelerometer's angles */
		tilt_init(&tilt, TILT_TAU);
	} else if (calibrated) {
		float af[3], gf[3];

		for (int i = 0; i < 3; i++) {
			g[i] -= bias[i];
			af[i] = a[i] * 1e-6f;
			gf[i] = g[i] * 1e-6f;
		}
		/* the first update ignores dt, so no special case for it */
		tilt_update(&tilt, af, gf,
			    (float)(now - last_cycle) / sys_clock_hw_cycles_per_sec());
	} else {
		cal_add(g);
	}

	if (sample_cb) {
		sample_cb(t, use, tilt.roll, tilt.pitch, tilt.pitch_rate);
	}

	if (use) {
		K_SPINLOCK(&lock) {
			memcpy(accel, a, sizeof(a));
			memcpy(gyro, g, sizeof(g));
			roll = tilt.roll;
			pitch = tilt.pitch;
			have_sample = true;
		}
	}
	last_cycle = now;
	have_last = true;
}

/* data ready of the accelerometer; gyro runs at the same ODR in sync */
static const struct sensor_trigger drdy = {
	.type = SENSOR_TRIG_DATA_READY,
	.chan = SENSOR_CHAN_ACCEL_XYZ,
};

/* printk has no float support (CONFIG_CBPRINTF_FP_SUPPORT costs code
 * size), so print micro-units as fixed point with 4 decimals.
 */
static void print_micro(const char *name, int32_t u)
{
	const char *sign = u < 0 ? "-" : " ";
	/* in units of 1e-4, rounded toward zero */
	uint32_t m = (u < 0 ? -(uint32_t)u : (uint32_t)u) / 100;

	printk(" %s %s%u.%04u", name, sign, m / 10000, m % 10000);
}

static void print_xyz(const char *label, const int32_t v[3])
{
	printk("%s", label);
	print_micro("x", v[0]);
	print_micro("y", v[1]);
	print_micro("z", v[2]);
}

/* Print what the calibration did since the last report. */
static void print_cal(const struct imu_cal *c, uint32_t *printed)
{
	if (c->attempts == *printed) {
		return;
	}
	*printed = c->attempts;
	if (c->done) {
		print_xyz("imu: gyro bias [rad/s]", c->bias);
		printk(" (try %u)\n", c->attempts);
	} else {
		print_xyz("imu: moving, gyro calibration retrying; range [rad/s]", c->range);
		printk("\n");
	}
}

static void imu_task(void *p1, void *p2, void *p3)
{
	struct imu_stats s;
	struct imu_cal c;
	uint32_t cal_printed = 0;
	enum imu_fault fault, printed = IMU_OK;
	int32_t a[3], g[3];
	float r, p;
	uint8_t id;
	bool ok, id_ok;
	int ret;

	ARG_UNUSED(p1);
	ARG_UNUSED(p2);
	ARG_UNUSED(p3);

	for (;;) {
		k_msleep(IMU_REPORT_MS);

		ret = read_reg(REG_WHO_AM_I, &id);
		id_ok = ret == 0 && id == WHO_AM_I_LSM6DSOX;
		if (id_ok) {
			cfg_restore_if_lost();
		}

		K_SPINLOCK(&lock) {
			imu_health_who_am_i(&health, id_ok);
			/* also sees samples that stopped coming */
			fault = imu_health_check(&health, uptime_us());
			s = stats;
			stats_reset(&stats);
			c = cal;
			ok = have_sample;
			memcpy(a, accel, sizeof(a));
			memcpy(g, gyro, sizeof(g));
			r = roll;
			p = pitch;
		}

		print_cal(&c, &cal_printed);

		/* samples counted over ~IMU_REPORT_MS, so samples/s */
		printk("imu: %u Hz, gap us min %u avg %u max %u, fetch us max %u, errors %u\n",
		       s.samples,
		       s.gaps ? k_cyc_to_us_floor32(s.gap_min) : 0,
		       s.gaps ? k_cyc_to_us_floor32(s.gap_sum / s.gaps) : 0,
		       k_cyc_to_us_floor32(s.gap_max),
		       k_cyc_to_us_floor32(s.fetch_max),
		       s.errors);
		if (!id_ok) {
			printk("imu: WHO_AM_I 0x%02x, spi %d\n", id, ret);
		}
		if (s.faults) {
			printk("imu: %u faults, last %s\n", s.faults, imu_fault_str(s.last_fault));
		}
		if (fault != IMU_OK) {
			printk("imu: FAULT %s\n", imu_fault_str(fault));
		} else if (printed != IMU_OK) {
			printk("imu: healthy (was %s)\n", imu_fault_str(printed));
		}
		printed = fault;
		if (ok && fault == IMU_OK) {
			print_xyz("imu: a[m/s2]", a);
			print_xyz("  g[rad/s]", g);
			printk("\nimu: tilt [deg]");
			print_micro("roll", (int32_t)(r * RAD_TO_UDEG));
			print_micro("pitch", (int32_t)(p * RAD_TO_UDEG));
			printk("\n");
		}
	}
}

enum imu_fault imu_latest(struct imu_sample *out)
{
	int32_t a[3], g[3];
	float r, p, q[4];
	enum imu_fault fault;
	bool ok;

	K_SPINLOCK(&lock) {
		fault = imu_health_check(&health, uptime_us());
		ok = have_sample;
		memcpy(a, accel, sizeof(a));
		memcpy(g, gyro, sizeof(g));
		r = roll;
		p = pitch;
	}
	if (fault != IMU_OK) {
		return fault;
	}
	if (!ok) {
		/* healthy, but the gyro calibration isn't done yet */
		return IMU_FAULT_NO_DATA;
	}
	/* convert outside the lock: the sampling thread waits on it */
	for (int i = 0; i < 3; i++) {
		out->accel[i] = a[i] * 1e-6;
		out->gyro[i] = g[i] * 1e-6;
	}
	tilt_quaternion(r, p, q);
	for (int i = 0; i < 4; i++) {
		out->orientation[i] = q[i];
	}
	return IMU_OK;
}

int imu_init(imu_sample_cb_t cb)
{
	int ret;

	sample_cb = cb;
	if (!device_is_ready(imu)) {
		printk("imu: %s not ready\n", imu->name);
		return -ENODEV;
	}

	stats_reset(&stats);
	imu_health_init(&health, ACCEL_FS, GYRO_FS);
	tilt_init(&tilt, TILT_TAU);
	ret = sensor_trigger_set(imu, &drdy, on_drdy);
	if (ret) {
		printk("imu: data-ready trigger failed: %d\n", ret);
		return ret;
	}
	/* after the trigger: it routes data ready to INT1 */
	ret = cfg_save();
	if (ret) {
		printk("imu: reading the chip setup failed: %d\n", ret);
		return ret;
	}

	k_thread_create(&imu_thread, imu_stack, K_THREAD_STACK_SIZEOF(imu_stack), imu_task,
			NULL, NULL, NULL, IMU_PRIORITY, 0, K_NO_WAIT);
	k_thread_name_set(&imu_thread, "imu");
	return 0;
}
```

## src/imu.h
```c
/*
 * IMU: ST LSM6DSOX on SPI5 (DT node "imu"), through Zephyr's LSM6DSO
 * sensor driver.
 *
 * Bring-up step 3 (DontFall docs/archive/imu-plan.md): the chip's data-ready
 * interrupt (INT1) clocks the sampling at the ODR. Each sample is fetched
 * and timestamped; once a second a summary of the rate and the gaps
 * between samples is printked. imu_latest() hands the newest sample to
 * the micro-ROS publisher (uros.c).
 *
 * Bring-up step 5: the gyro bias is measured at startup while the module
 * is still and subtracted from every sample. No samples are handed out
 * until that has worked.
 *
 * Step 6: every sample also runs the tilt filter (tilt.c); its roll and
 * pitch come with the sample as an orientation quaternion.
 *
 * Step 7: every sample goes through the fault checks (imu_health.h);
 * imu_latest() hands out nothing while there is a fault.
 */
#ifndef DONTFALL_M4_IMU_H_
#define DONTFALL_M4_IMU_H_

#include <stdbool.h>
#include <stdint.h>

#include "imu_health.h"

struct imu_sample {
	double accel[3]; /* m/s^2, sensor axes */
	double gyro[3];  /* rad/s, sensor axes, bias removed */
	/* tilt filter (tilt.h), body axes: unit quaternion (x, y, z, w) of
	 * roll and pitch, yaw 0
	 */
	double orientation[4];
};

/* Called in the sampling thread after every fetch, at ~850 Hz: keep it
 * short, no blocking or printing. now_us is uptime_us() at the fetch. ok
 * false: no trusted sample (a fault, or the gyro not calibrated yet), then
 * the angles mean nothing. Roll and pitch in rad, pitch_rate in rad/s
 * from the gyro with its bias removed, see tilt.h.
 */
typedef void (*imu_sample_cb_t)(uint32_t now_us, bool ok, float roll, float pitch,
				float pitch_rate);

/* Check the sensor came up, start sampling and the summary thread. cb
 * (may be NULL) gets every sample.
 * Returns 0, -ENODEV if the driver failed to init (wrong WHO_AM_I, SPI
 * error), or the error from setting the data-ready trigger.
 */
int imu_init(imu_sample_cb_t cb);

/* Copy the newest sample to *out. Any thread; never blocks on the sensor.
 * Returns IMU_OK, or the fault and leaves *out alone: then the tilt can't
 * be trusted (the balance controller disarms). IMU_FAULT_NO_DATA also
 * while the gyro is still being calibrated.
 */
enum imu_fault imu_latest(struct imu_sample *out);

#endif /* DONTFALL_M4_IMU_H_ */
```

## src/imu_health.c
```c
/*
 * IMU fault detection. See imu_health.h.
 *
 * SPDX-License-Identifier: Apache-2.0
 */

#include "imu_health.h"

#include <string.h>

void imu_health_init(struct imu_health *h, int32_t accel_fs, int32_t gyro_fs)
{
	*h = (struct imu_health){
		.accel_fs = accel_fs,
		.gyro_fs = gyro_fs,
		.fault = IMU_FAULT_NO_DATA,
	};
}

static void set_fault(struct imu_health *h, enum imu_fault f)
{
	h->fault = f;
	h->good_n = 0;
}

/* The conversion to micro-units rounds, so compare a hair below the
 * largest reading.
 */
static bool at_full_scale(int32_t v, int32_t fs)
{
	int32_t lim = fs - fs / 1000;

	return v >= lim || v <= -lim;
}

void imu_health_sample(struct imu_health *h, uint32_t now_us, bool read_ok,
		       const int32_t accel[3], const int32_t gyro[3])
{
	int32_t v[6];
	bool saturated = false;
	/* unsigned differences: right across a wrap of the clock */
	uint32_t gap = now_us - h->last_us;
	bool fast = h->have_last && gap < IMU_HEALTH_MIN_GAP_US;

	/* Since the last fetch of any kind, not the last good one: a run of
	 * bad samples keeps its own reason.
	 */
	if (h->have_last && gap > IMU_HEALTH_TIMEOUT_US) {
		set_fault(h, IMU_FAULT_NO_DATA);
	}
	h->have_last = true;
	h->last_us = now_us;
	h->fast_n = fast ? h->fast_n + 1 : 0;
	if (h->fast_n >= IMU_HEALTH_FAST) {
		set_fault(h, IMU_FAULT_RATE);
	}
	if (fast) {
		h->good_n = 0;
		return;
	}

	if (!read_ok) {
		h->good_n = 0;
		if (++h->read_errors >= IMU_HEALTH_READ_ERRORS) {
			set_fault(h, IMU_FAULT_READ);
		}
		return;
	}
	h->read_errors = 0;

	memcpy(v, accel, 3 * sizeof(v[0]));
	memcpy(v + 3, gyro, 3 * sizeof(v[0]));
	for (int i = 0; i < 3; i++) {
		saturated |= at_full_scale(accel[i], h->accel_fs) ||
			     at_full_scale(gyro[i], h->gyro_fs);
	}
	h->saturated_n = saturated ? h->saturated_n + 1 : 0;
	h->same_n = memcmp(v, h->prev, sizeof(v)) == 0 ? h->same_n + 1 : 0;
	memcpy(h->prev, v, sizeof(v));

	if (h->same_n >= IMU_HEALTH_STUCK) {
		set_fault(h, IMU_FAULT_STUCK);
	}
	/* last: a sensor pinned at full scale also repeats itself */
	if (h->saturated_n >= IMU_HEALTH_SATURATED) {
		set_fault(h, IMU_FAULT_RANGE);
	}
	if (h->saturated_n || h->same_n >= IMU_HEALTH_STUCK) {
		h->good_n = 0;
		return;
	}

	h->have_good = true;
	h->last_good_us = now_us;
	/* also at startup: the first samples have to prove the chip works */
	if (h->fault != IMU_OK && !h->who_am_i_bad && ++h->good_n >= IMU_HEALTH_RECOVER) {
		h->fault = IMU_OK;
	}
}

void imu_health_who_am_i(struct imu_health *h, bool ok)
{
	if (!ok) {
		h->who_am_i_bad = true;
		set_fault(h, IMU_FAULT_WHO_AM_I);
	} else if (h->who_am_i_bad) {
		/* recover from here on, like from any other fault */
		h->who_am_i_bad = false;
		h->good_n = 0;
	}
}

enum imu_fault imu_health_check(const struct imu_health *h, uint32_t now_us)
{
	if (h->fault != IMU_OK) {
		return h->fault;
	}
	if (!h->have_good || now_us - h->last_good_us > IMU_HEALTH_TIMEOUT_US) {
		return IMU_FAULT_NO_DATA;
	}
	return IMU_OK;
}

const char *imu_fault_str(enum imu_fault f)
{
	switch (f) {
	case IMU_OK:
		return "ok";
	case IMU_FAULT_NO_DATA:
		return "no data";
	case IMU_FAULT_READ:
		return "read";
	case IMU_FAULT_STUCK:
		return "stuck";
	case IMU_FAULT_RANGE:
		return "range";
	case IMU_FAULT_WHO_AM_I:
		return "who_am_i";
	case IMU_FAULT_RATE:
		return "rate";
	}
	return "?";
}
```
